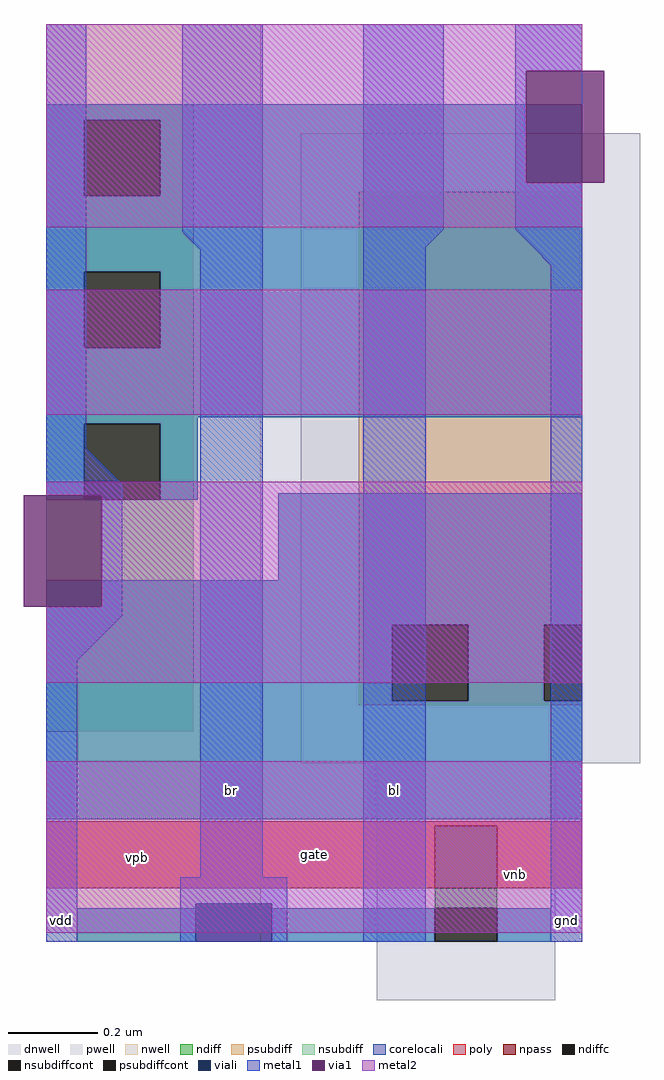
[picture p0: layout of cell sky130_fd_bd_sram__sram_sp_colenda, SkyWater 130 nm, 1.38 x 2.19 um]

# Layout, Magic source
magic
tech sky130A
magscale 1 2
<< dnwell >>
rect 0 0 240 411
<< nwell >>
rect 0 0 96 411
<< pwell >>
rect 114 80 266 362
rect 148 -26 228 80
<< npass >>
rect 174 24 202 52
<< ndiff >>
rect 174 15 202 24
<< ndiffc >>
rect 174 0 202 15
<< psubdiff >>
rect 140 142 240 336
rect 140 108 155 142
rect 189 108 223 142
rect 140 106 240 108
<< nsubdiff >>
rect 0 368 66 375
rect 0 334 17 368
rect 51 334 66 368
rect 0 300 66 334
rect 0 266 17 300
rect 51 266 66 300
rect 0 232 66 266
rect 0 198 17 232
rect 51 198 66 232
rect 0 94 66 198
<< psubdiffcont >>
rect 155 108 189 142
rect 223 108 240 142
<< nsubdiffcont >>
rect 17 334 51 368
rect 17 266 51 300
rect 17 198 51 232
<< poly >>
rect 0 52 240 54
rect 0 24 174 52
rect 202 24 240 52
<< corelocali >>
rect 0 368 240 375
rect 0 334 17 368
rect 51 334 240 368
rect 0 300 240 334
rect 0 266 17 300
rect 51 266 240 300
rect 0 235 240 266
rect 0 232 68 235
rect 0 198 17 232
rect 51 198 68 232
rect 104 162 240 201
rect 0 142 240 162
rect 0 108 155 142
rect 189 108 223 142
rect 0 55 240 108
rect 14 0 67 15
rect 101 0 174 15
rect 202 0 226 15
<< viali >>
rect 67 0 101 17
<< metal1 >>
rect 0 205 18 411
rect 61 318 97 411
tri 61 310 69 318 ne
tri 18 205 34 221 sw
rect 0 200 34 205
rect 25 150 34 200
rect 0 146 34 150
rect 0 0 14 146
tri 14 126 34 146 nw
rect 69 29 97 318
rect 142 319 178 411
rect 60 17 108 29
rect 60 0 67 17
rect 101 0 108 17
rect 142 0 170 319
tri 170 311 178 319 nw
rect 210 390 240 411
rect 210 340 215 390
rect 210 319 240 340
tri 210 311 218 319 ne
rect 218 311 240 319
tri 218 303 226 311 ne
rect 226 0 240 311
<< via1 >>
rect -10 150 25 200
rect 215 340 250 390
<< metal2 >>
rect 0 390 240 411
rect 0 340 215 390
rect 0 320 240 340
rect 0 236 240 292
rect 0 200 240 206
rect 25 150 240 200
rect 0 116 240 150
rect 0 4 240 81
<< labels >>
flabel metal1 s 0 0 14 19 2 FreeSans 2000 0 0 0 vdd
port 1 nsew
flabel metal1 s 69 55 97 81 2 FreeSans 2000 0 0 0 br
port 2 nsew
flabel metal1 s 142 55 170 81 2 FreeSans 2000 0 0 0 bl
port 3 nsew
flabel metal1 s 226 0 240 19 2 FreeSans 2000 0 0 0 gnd
port 4 nsew
rlabel nwell s 32 28 50 48 4 vpb
port 5 nsew
rlabel pwell s 200 20 220 40 4 vnb
port 6 nsew
rlabel poly s 120 39 120 39 4 gate
port 7 nsew
<< end >>
